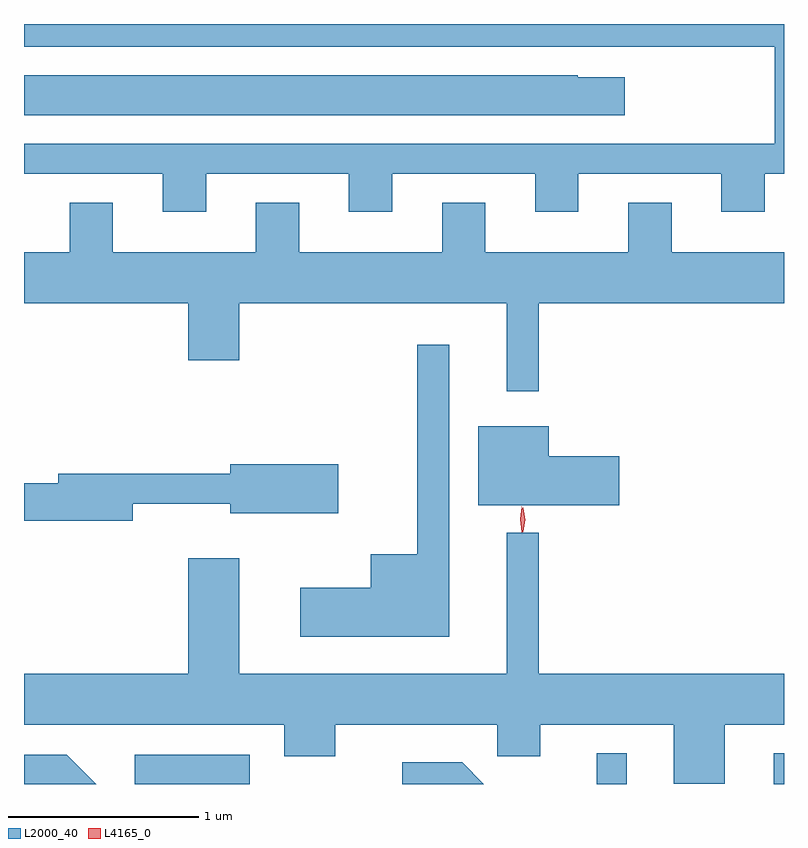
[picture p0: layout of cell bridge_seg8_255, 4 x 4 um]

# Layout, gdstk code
import gdstk
lib = gdstk.Library(unit=1e-6, precision=1e-09)
def R(c, l, rs):  # rectangles x0, y0, x1, y1
    for r in rs: c.add(gdstk.rectangle(r[:2], r[2:], *l))
def P(c, l, *ps):  # polygons
    for p in ps: c.add(gdstk.Polygon(p, *l))
L2000_40 = (2000, 40)
L4165_0 = (4165, 0)

bridge_seg8_255 = lib.new_cell('bridge_seg8_255')
R(bridge_seg8_255, L2000_40, [(1113.893,1842.765,1114.499,1842.919), (1116.326,1842.765,1116.484,1842.928), (1117.256,1842.765,1117.311,1842.928)])
P(bridge_seg8_255, L2000_40, [(1114.269,1845.976),(1115.021,1845.976),(1115.021,1845.776),(1115.249,1845.776),(1115.249,1845.976),(1116.001,1845.976),(1116.001,1845.776),(1116.229,1845.776),(1116.229,1845.976),(1116.981,1845.976),(1116.981,1845.776),(1117.209,1845.776),(1117.209,1845.976),(1117.311,1845.976),(1117.311,1846.765),(1113.311,1846.765),(1113.311,1846.646),(1117.261,1846.646),(1117.261,1846.134),(1113.311,1846.134),(1113.311,1845.976),(1114.041,1845.976),(1114.041,1845.776),(1114.269,1845.776)],
  [(1116.474,1846.484),(1116.225,1846.484),(1116.225,1846.494),(1113.311,1846.494),(1113.311,1846.286),(1116.474,1846.286)],
  [(1116.019,1845.296),(1117.311,1845.296),(1117.311,1845.564),(1116.719,1845.564),(1116.719,1845.824),(1116.491,1845.824),(1116.491,1845.564),(1115.739,1845.564),(1115.739,1845.824),(1115.511,1845.824),(1115.511,1845.564),(1114.759,1845.564),(1114.759,1845.824),(1114.531,1845.824),(1114.531,1845.564),(1113.779,1845.564),(1113.779,1845.824),(1113.551,1845.824),(1113.551,1845.564),(1113.311,1845.564),(1113.311,1845.296),(1114.176,1845.296),(1114.176,1844.996),(1114.444,1844.996),(1114.444,1845.296),(1115.851,1845.296),(1115.851,1844.833),(1116.019,1844.833)],
  [(1115.549,1845.078),(1115.381,1845.078),(1115.381,1843.974),(1115.136,1843.974),(1115.136,1843.799),(1114.766,1843.799),(1114.766,1843.541),(1115.549,1843.541)],
  [(1116.444,1844.489),(1116.074,1844.489),(1116.074,1844.649),(1115.701,1844.649),(1115.701,1844.231),(1116.444,1844.231)],
  [(1113.884,1844.241),(1114.396,1844.241),(1114.396,1844.191),(1114.964,1844.191),(1114.964,1844.449),(1114.396,1844.449),(1114.396,1844.399),(1113.491,1844.399),(1113.491,1844.349),(1113.311,1844.349),(1113.311,1844.151),(1113.884,1844.151)],
  [(1114.681,1842.911),(1114.949,1842.911),(1114.949,1843.076),(1115.801,1843.076),(1115.801,1842.911),(1116.029,1842.911),(1116.029,1843.076),(1116.731,1843.076),(1116.731,1842.766),(1116.999,1842.766),(1116.999,1843.076),(1117.311,1843.076),(1117.311,1843.344),(1116.019,1843.344),(1116.019,1844.088),(1115.851,1844.088),(1115.851,1843.344),(1114.444,1843.344),(1114.444,1843.954),(1114.176,1843.954),(1114.176,1843.344),(1113.311,1843.344),(1113.311,1843.076),(1114.681,1843.076)],
  [(1113.537,1842.919),(1113.311,1842.919),(1113.311,1842.765),(1113.691,1842.765)],
  [(1115.617,1842.879),(1115.303,1842.879),(1115.303,1842.765),(1115.731,1842.765)])
P(bridge_seg8_255, L4165_0, [(1115.932,1844.09),(1115.932,1844.09),(1115.922,1844.158),(1115.931,1844.225),(1115.931,1844.226),(1115.932,1844.225),(1115.942,1844.158),(1115.933,1844.09)],
  [(1115.937,1844.093),(1115.928,1844.156),(1115.937,1844.219),(1115.938,1844.22),(1115.938,1844.219),(1115.948,1844.156),(1115.938,1844.093),(1115.938,1844.093)])

lib.write_gds('bridge_seg8_255.gds')
